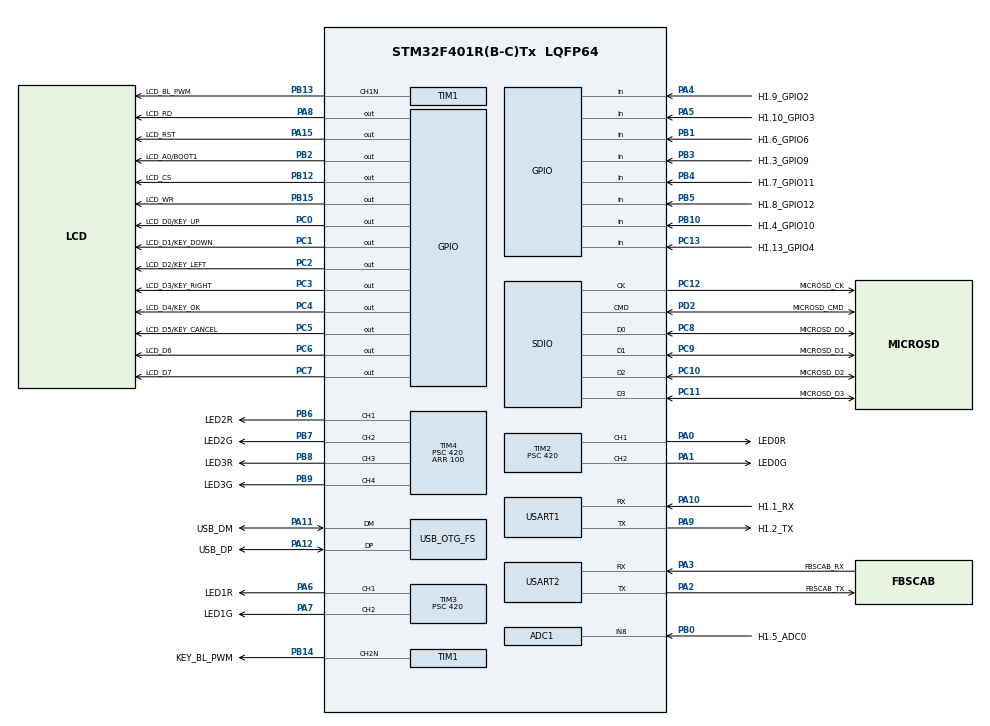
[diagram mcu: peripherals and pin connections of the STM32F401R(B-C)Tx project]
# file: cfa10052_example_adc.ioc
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ADC1.Channel-0\#ChannelRegularConversion=ADC_CHANNEL_8
ADC1.ClockPrescaler=ADC_CLOCK_SYNC_PCLK_DIV8
ADC1.ContinuousConvMode=ENABLE
ADC1.DMAContinuousRequests=DISABLE
ADC1.NbrOfConversionFlag=1
ADC1.Rank-0\#ChannelRegularConversion=1
ADC1.SamplingTime-0\#ChannelRegularConversion=ADC_SAMPLETIME_3CYCLES
ADC1.ScanConvMode=DISABLE
ADC1.master=1
Mcu.Family=STM32F4
Mcu.Name=STM32F401R(B-C)Tx
Mcu.Package=LQFP64
NVIC.ADC_IRQn=true\:0\:0\:false\:false\:true\:true\:true
NVIC.OTG_FS_IRQn=true\:0\:0\:false\:false\:true\:false\:true
NVIC.PriorityGroup=NVIC_PRIORITYGROUP_4
NVIC.USART1_IRQn=true\:0\:0\:false\:false\:true\:true\:true
PA0-WKUP.GPIO_Label=LED0R
PA0-WKUP.GPIO_Speed=GPIO_SPEED_FREQ_VERY_HIGH
PA0-WKUP.Signal=S_TIM2_CH1_ETR
PA1.GPIO_Label=LED0G
PA1.GPIO_Speed=GPIO_SPEED_FREQ_VERY_HIGH
PA1.Signal=S_TIM2_CH2
PA10.GPIO_Label=H1.1_RX
PA10.Mode=Asynchronous
PA10.Signal=USART1_RX
PA11.GPIO_Label=USB_DM
PA11.Mode=Device_Only
PA11.Signal=USB_OTG_FS_DM
PA12.GPIO_Label=USB_DP
PA12.Mode=Device_Only
PA12.Signal=USB_OTG_FS_DP
PA13.GPIO_Label=H1.11_SWDIO_GPIO0
PA13.Mode=Serial_Wire
PA13.Signal=SYS_JTMS-SWDIO
PA14.GPIO_Label=H1.12_SWCLK_GPIO1
PA14.Mode=Serial_Wire
PA14.Signal=SYS_JTCK-SWCLK
PA15.GPIO_Label=LCD_RST
PA15.GPIO_Speed=GPIO_SPEED_FREQ_VERY_HIGH
PA15.Signal=GPIO_Output
PA2.GPIO_Label=FBSCAB_TX
PA2.Mode=Asynchronous
PA2.Signal=USART2_TX
PA3.GPIO_Label=FBSCAB_RX
PA3.Mode=Asynchronous
PA3.Signal=USART2_RX
PA4.GPIO_Label=H1.9_GPIO2
PA4.Signal=GPIO_Input
PA5.GPIO_Label=H1.10_GPIO3
PA5.Signal=GPIO_Input
PA6.GPIO_Label=LED1R
PA6.GPIO_Speed=GPIO_SPEED_FREQ_VERY_HIGH
PA6.Signal=S_TIM3_CH1
PA7.GPIO_Label=LED1G
PA7.GPIO_Speed=GPIO_SPEED_FREQ_VERY_HIGH
PA7.Signal=S_TIM3_CH2
PA8.GPIO_Label=LCD_RD
PA8.GPIO_Speed=GPIO_SPEED_FREQ_VERY_HIGH
PA8.Signal=GPIO_Output
PA9.GPIO_Label=H1.2_TX
PA9.Mode=Asynchronous
PA9.Signal=USART1_TX
PB0.GPIO_Label=H1.5_ADC0
PB0.Signal=ADCx_IN8
PB1.GPIO_Label=H1.6_GPIO6
PB1.Signal=GPIO_Input
PB10.GPIO_Label=H1.4_GPIO10
PB10.Signal=GPIO_Input
PB12.GPIO_Label=LCD_CS
PB12.GPIO_Speed=GPIO_SPEED_FREQ_VERY_HIGH
PB12.Signal=GPIO_Output
PB13.GPIO_Label=LCD_BL_PWM
PB13.GPIO_Speed=GPIO_SPEED_FREQ_VERY_HIGH
PB13.Mode=PWM Generation1 CH1N
PB13.Signal=TIM1_CH1N
PB14.GPIO_Label=KEY_BL_PWM
PB14.GPIO_Speed=GPIO_SPEED_FREQ_VERY_HIGH
PB14.Mode=PWM Generation2 CH2N
PB14.Signal=TIM1_CH2N
PB15.GPIO_Label=LCD_WR
PB15.GPIO_Speed=GPIO_SPEED_FREQ_VERY_HIGH
PB15.Signal=GPIO_Output
PB2.GPIO_Label=LCD_A0/BOOT1
PB2.GPIO_Speed=GPIO_SPEED_FREQ_VERY_HIGH
PB2.Signal=GPIO_Output
PB3.GPIO_Label=H1.3_GPIO9
PB3.Signal=GPIO_Input
PB4.GPIO_Label=H1.7_GPIO11
PB4.Signal=GPIO_Input
PB5.GPIO_Label=H1.8_GPIO12
PB5.Signal=GPIO_Input
PB6.GPIO_Label=LED2R
PB6.GPIO_Speed=GPIO_SPEED_FREQ_VERY_HIGH
PB6.Signal=S_TIM4_CH1
PB7.GPIO_Label=LED2G
PB7.GPIO_Speed=GPIO_SPEED_FREQ_VERY_HIGH
PB7.Signal=S_TIM4_CH2
PB8.GPIO_Label=LED3R
PB8.GPIO_Speed=GPIO_SPEED_FREQ_VERY_HIGH
PB8.Signal=S_TIM4_CH3
PB9.GPIO_Label=LED3G
PB9.GPIO_Speed=GPIO_SPEED_FREQ_VERY_HIGH
PB9.Signal=S_TIM4_CH4
PC0.GPIO_Label=LCD_D0/KEY_UP
PC0.GPIO_Speed=GPIO_SPEED_FREQ_VERY_HIGH
PC0.Signal=GPIO_Output
PC1.GPIO_Label=LCD_D1/KEY_DOWN
PC1.GPIO_Speed=GPIO_SPEED_FREQ_VERY_HIGH
PC1.Signal=GPIO_Output
PC10.GPIO_Label=MICROSD_D2
PC10.Mode=SD_4_bits_Wide_bus
PC10.Signal=SDIO_D2
PC11.GPIO_Label=MICROSD_D3
PC11.Mode=SD_4_bits_Wide_bus
PC11.Signal=SDIO_D3
PC12.GPIO_Label=MICROSD_CK
PC12.Mode=SD_4_bits_Wide_bus
PC12.Signal=SDIO_CK
PC13-ANTI_TAMP.GPIO_Label=H1.13_GPIO4
PC13-ANTI_TAMP.Signal=GPIO_Input
PC2.GPIO_Label=LCD_D2/KEY_LEFT
PC2.GPIO_Speed=GPIO_SPEED_FREQ_VERY_HIGH
PC2.Signal=GPIO_Output
PC3.GPIO_Label=LCD_D3/KEY_RIGHT
PC3.GPIO_Speed=GPIO_SPEED_FREQ_VERY_HIGH
PC3.Signal=GPIO_Output
PC4.GPIO_Label=LCD_D4/KEY_OK
PC4.GPIO_Speed=GPIO_SPEED_FREQ_VERY_HIGH
PC4.Signal=GPIO_Output
PC5.GPIO_Label=LCD_D5/KEY_CANCEL
PC5.GPIO_Speed=GPIO_SPEED_FREQ_VERY_HIGH
PC5.Signal=GPIO_Output
PC6.GPIO_Label=LCD_D6
PC6.GPIO_Speed=GPIO_SPEED_FREQ_VERY_HIGH
PC6.Signal=GPIO_Output
PC7.GPIO_Label=LCD_D7
PC7.GPIO_Speed=GPIO_SPEED_FREQ_VERY_HIGH
PC7.Signal=GPIO_Output
PC8.GPIO_Label=MICROSD_D0
PC8.Mode=SD_4_bits_Wide_bus
PC8.Signal=SDIO_D0
PC9.GPIO_Label=MICROSD_D1
PC9.Mode=SD_4_bits_Wide_bus
PC9.Signal=SDIO_D1
PD2.GPIO_Label=MICROSD_CMD
PD2.Mode=SD_4_bits_Wide_bus
PD2.Signal=SDIO_CMD
PH0\ -\ OSC_IN.GPIO_Label=OSC_IN
PH0\ -\ OSC_IN.Mode=HSE-External-Oscillator
PH0\ -\ OSC_IN.Signal=RCC_OSC_IN
PH1\ -\ OSC_OUT.GPIO_Label=OSC_OUT
PH1\ -\ OSC_OUT.Mode=HSE-External-Oscillator
PH1\ -\ OSC_OUT.Signal=RCC_OSC_OUT
ProjectManager.HeapSize=0x200
ProjectManager.StackSize=0x400
ProjectManager.TargetToolchain=STM32CubeIDE
RCC.48MHZClocksFreq_Value=48000000
RCC.AHBFreq_Value=84000000
RCC.APB1CLKDivider=RCC_HCLK_DIV2
RCC.APB1Freq_Value=42000000
RCC.APB1TimFreq_Value=84000000
RCC.APB2Freq_Value=84000000
RCC.APB2TimFreq_Value=84000000
RCC.CortexFreq_Value=84000000
RCC.HCLKFreq_Value=84000000
RCC.HSE_VALUE=16000000
RCC.HSI_VALUE=16000000
RCC.LSE_VALUE=32768
RCC.PLLM=8
RCC.PLLN=168
RCC.PLLP=RCC_PLLP_DIV4
RCC.PLLQ=7
RCC.SYSCLKFreq_VALUE=84000000
RCC.SYSCLKSource=RCC_SYSCLKSOURCE_PLLCLK
RCC.VCOOutputFreq_Value=336000000
SH.ADCx_IN8.0=ADC1_IN8,IN8
SH.S_TIM2_CH1_ETR.0=TIM2_CH1,PWM Generation1 CH1
SH.S_TIM2_CH2.0=TIM2_CH2,PWM Generation2 CH2
SH.S_TIM3_CH1.0=TIM3_CH1,PWM Generation1 CH1
SH.S_TIM3_CH2.0=TIM3_CH2,PWM Generation2 CH2
SH.S_TIM4_CH1.0=TIM4_CH1,PWM Generation1 CH1
SH.S_TIM4_CH2.0=TIM4_CH2,PWM Generation2 CH2
SH.S_TIM4_CH3.0=TIM4_CH3,PWM Generation3 CH3
SH.S_TIM4_CH4.0=TIM4_CH4,PWM Generation4 CH4
TIM1.Channel-PWM\ Generation1\ CH1N=TIM_CHANNEL_1
TIM1.Channel-PWM\ Generation2\ CH2N=TIM_CHANNEL_2
TIM1.CounterMode=TIM_COUNTERMODE_DOWN
TIM1.Period=100
TIM1.Prescaler=9
TIM2.Channel-PWM\ Generation1\ CH1=TIM_CHANNEL_1
TIM2.Channel-PWM\ Generation2\ CH2=TIM_CHANNEL_2
TIM2.Period=100
TIM2.Prescaler=420
TIM3.Channel-PWM\ Generation1\ CH1=TIM_CHANNEL_1
TIM3.Channel-PWM\ Generation2\ CH2=TIM_CHANNEL_2
TIM3.Period=100
TIM3.Prescaler=420
TIM4.Channel-PWM\ Generation1\ CH1=TIM_CHANNEL_1
TIM4.Channel-PWM\ Generation2\ CH2=TIM_CHANNEL_2
TIM4.Channel-PWM\ Generation3\ CH3=TIM_CHANNEL_3
TIM4.Channel-PWM\ Generation4\ CH4=TIM_CHANNEL_4
TIM4.Period=100
TIM4.Prescaler=420
USART1.VirtualMode=VM_ASYNC
USART2.VirtualMode=VM_ASYNC
USB_DEVICE.CLASS_NAME_FS=CDC
USB_DEVICE.VirtualMode=Cdc
USB_DEVICE.VirtualModeFS=Cdc_FS
USB_OTG_FS.VirtualMode=Device_Only
USB_OTG_FS.lpm_enable=ENABLE
VP_TIM1_VS_ClockSourceINT.Mode=Internal
VP_TIM2_VS_ClockSourceINT.Mode=Internal
VP_TIM3_VS_ClockSourceINT.Mode=Internal
VP_TIM4_VS_ClockSourceINT.Mode=Internal
VP_USB_DEVICE_VS_USB_DEVICE_CDC_FS.Mode=CDC_FS
board=custom

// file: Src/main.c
/* USER CODE BEGIN Header */
/**
 ******************************************************************************
 * @file           : main.c
 * @brief          : Main program body
 ******************************************************************************
 *
 * Crystalfontz CFA10052 (hardware v1.1 onwards) Example firmware.
 *
 * This example displays a 0 to ~22khz spectrogram on the LCD, as sampled by
 * the first of the two ADC input pins.
 * See the README for example AC signal input circuitry.
 *
 * The ADC input is Header 1 - Pin 5.
 * Due to the resistive divider on the CFA10052 ADC input pin, maximum input
 * voltage is 6.6V.
 *
 * The ADC is sampled at 43,750Hz.
 *
 * The Tick key toggles between manual and auto amplitude range
 * Up/Down keys change the amplitude when in manual amplitude mode
 * Left/Right keys move the frequency measurement cursor
  *
 * For more information about this CFA10052 example custom firmware package,
 * please see the README.md file.
 *
 ******************************************************************************
 *
 * Crystalfontz supplied source-code is provided using The Unlicense.
 * A license with no conditions whatsoever which dedicates works to the public
 * domain. Unlicensed works, modifications, and larger works may be distributed
 * under different terms and without source code.
 * See the UNLICENCE file, or https://unlicense.org/ for details.
 *
 * STM32Cube created source-code and STMicroelectronics libraries are Copyright(c)
 * 2019 STMicroelectronics. All rights reserved.
 * This software component is licensed by ST under BSD 3-Clause license,
 * the "License"; You may not use this file except in compliance with the
 * License.
 * You may obtain a copy of the License at: opensource.org/licenses/BSD-3-Clause
 *
 ******************************************************************************
 */
/* USER CODE END Header */

#include "main.h"
#include "usb_device.h"

/* USER CODE BEGIN Includes */
#include "usbd_cdc_if.h"

#include "keypad.h"
#include "leds.h"
#include "font_6x8x1.h"
#include "lcd_st7529.h"
#include "tprintf.h"
/* USER CODE END Includes */

/* USER CODE BEGIN PM */
#define ADC_SAMP_FREQ	(84000000/4/480)
#define ADC_NYQUIST		(ADC_SAMP_FREQ/2)

#define FFT_N			(1024)
#define FFT_2N			(FFT_N*2)
#define FFT_N2			(FFT_N/2)

#define KEY_REPEAT_TIMER	(100) /*mS*/
/* USER CODE END PM */

ADC_HandleTypeDef hadc1;

SD_HandleTypeDef hsd;

/* USER CODE BEGIN PV */

volatile uint32_t ADCSamples[FFT_N];
volatile uint32_t ADCSampleCount = 0;

/* USER CODE END PV */

void SystemClock_Config(void);
static void MX_GPIO_Init(void);
static void MX_TIM1_Init(void);
static void MX_TIM2_Init(void);
static void MX_TIM3_Init(void);
static void MX_TIM4_Init(void);
static void MX_USART1_UART_Init(void);
static void MX_USART2_UART_Init(void);
static void MX_SDIO_SD_Init(void);
static void MX_ADC1_Init(void);

/* USER CODE BEGIN 0 */

void User_USART1_IRQHandler(void)
{
	//incoming data on USART1 (CFA10052 H1, pins 1 & 2)
	//called by USART1_IRQHandler() in stm32f4xx_it.c
	//dont do anything other than clear the flag
	LL_USART_ClearFlag_RXNE(USART1);
}

void USB_IncomingData(uint8_t *Buf, uint32_t *Len)
{
	//incoming data from USB serial (ACM CDC)
	//called from CDC_Receive_FS() in usbd_cdc_if.c
	//dont do anything
}

void HAL_ADC_ConvCpltCallback(ADC_HandleTypeDef *hadc)
{
	//ADC conversion complete callback (from ADC_IRQHandler() in stm32f4xx_it.c)
	//Runs at PCLK2/4/480 = 84000000/4/480 = 43750 Hz
	if (ADCSampleCount < FFT_N-1)
	{
		ADCSamples[ADCSampleCount] = HAL_ADC_GetValue(&hadc1);
		ADCSampleCount++;
	}
}

//speedy log10 approximation
const float32_t C[4] = { 1.23149591368684f, -4.11852516267426f, 6.02197014179219f, -3.13396450166353f };
const float32_t LOG10_2 = log10(2.0f);
float32_t log10_approx(float32_t x)
{
	//reference: https://community.arm.com/tools/f/discussions/4292/cmsis-dsp-new-functionality-proposal
	float32_t f, l;
	int e;
	f = frexpf(fabsf(x), &e);
	l = LOG10_2 * (C[0] * f * f * f + C[1] * f * f + C[2] * f + C[3] + e);
	return l;
}

/* USER CODE END 0 */

int main(void)
{

  /* MCU Configuration--------------------------------------------------------*/

  /* Reset of all peripherals, Initializes the Flash interface and the Systick. */
  HAL_Init();

  /* Configure the system clock */
  SystemClock_Config();

  /* USER CODE BEGIN SysInit */
	//For some reason HAL doesnt always get this right
	//after SystemClock_Config(). Do it again.
	HAL_InitTick(TICK_INT_PRIORITY);
  /* USER CODE END SysInit */

  /* Initialize all configured peripherals */
  MX_GPIO_Init();
  MX_TIM1_Init();
  MX_TIM2_Init();
  MX_TIM3_Init();
  MX_TIM4_Init();
  MX_USART1_UART_Init();
  MX_USB_DEVICE_Init();
  MX_USART2_UART_Init();
  MX_SDIO_SD_Init();
  MX_ADC1_Init();
  /* USER CODE BEGIN 2 */

	//CFA10052 specific init's
	LEDs_Init();
	Keypad_Init();
	ST7529_Init();
	LEDs_LCDBacklightSet(50);
	LEDs_KeypadBacklightSet(50);

	//Start the ADC
	ADCSampleCount = 0;
	HAL_NVIC_EnableIRQ(ADC_IRQn);
	HAL_ADC_Start(&hadc1);
	HAL_ADC_Start_IT(&hadc1);

  /* USER CODE END 2 */

  /* Infinite loop */
  /* USER CODE BEGIN WHILE */

	//local vars
	uint32_t	i, j;
	char		TempS[40];
	float32_t	max;
	uint32_t	index;
	uint8_t		Mode;
	float32_t	AmplAuto, AmplManual, AmplMult;
	float32_t	FFT0;
	uint32_t	FreqPeak;
	uint32_t	XCursorPos;
	float32_t	LCDData[LCD_WIDTH];
	float32_t	FFTData[FFT_2N];
	uint32_t	KeyTimer;

	//init FFT vars
	arm_cfft_radix4_instance_f32 FFTInst;
	arm_cfft_radix4_init_f32(&FFTInst, FFT_N, 0, 1);

	//init local vars
	Mode = 0; //auto/manual ampl
	AmplManual = 0.5;
	AmplAuto = 0.5;
	XCursorPos = LCD_WIDTH/2;

	//pre-calc window function (hanning)
	float32_t FFTWindow[FFT_N];
	for (i = 0; i < FFT_N; i++)
		FFTWindow[i] = (0.5 * (1 - arm_cos_f32(2 * PI * i / (FFT_N - 1))));

	//main loop
	TIMER_SET_NEXT(KeyTimer, KEY_REPEAT_TIMER);
	while (1)
	{
		//keypad check
		Keypad_CheckButtons();

		//handle button presses / holds
		if (Keypad_ButtonState[KEY_UP] & BUTTON_RELEASED)
			//up key pressed, increase manual amplitude value
			AmplManual += (AmplManual > 5.0) ? 0 : 0.05;
		if (Keypad_ButtonState[KEY_DOWN] & BUTTON_RELEASED)
			//down key pressed, decrease manual amplitude value
			AmplManual -= (AmplManual < 0.1) ? 0 : 0.05;
		if (Keypad_ButtonState[KEY_ENTER] & BUTTON_RELEASED)
			//tick key pressed, toggle auto/manual amplitude
			Mode = !Mode;
		if (Keypad_ButtonState[KEY_RIGHT] & BUTTON_RELEASED)
			//right key pressed, move cursor right
			XCursorPos += (XCursorPos >= LCD_WIDTH-1) ? 0 : 1;
		if (Keypad_ButtonState[KEY_LEFT] & BUTTON_RELEASED)
			//left key pressed, move cursor left
			XCursorPos -= (XCursorPos < 1) ? 0 : 1;

		//key hold repeat timer
		IF_TIMER_EXPIRED(KeyTimer)
		{
			//reset timer
			TIMER_SET_NEXT(KeyTimer, KEY_REPEAT_TIMER)

			//handle key holds
			if (Keypad_ButtonState[KEY_UP] & BUTTON_HELD)
				//up key pressed, increase manual amplitude value
				AmplManual += (AmplManual > 10.0) ? 0 : 0.05f;
			if (Keypad_ButtonState[KEY_DOWN] & BUTTON_HELD)
				//down key pressed, decrease manual amplitude value
				AmplManual -= (AmplManual < 0.1f) ? 0 : 0.05f;
			if (Keypad_ButtonState[KEY_RIGHT] & BUTTON_HELD)
				//right key pressed, move cursor right
				XCursorPos += (XCursorPos >= LCD_WIDTH-1) ? 0 : 1;
			if (Keypad_ButtonState[KEY_LEFT] & BUTTON_HELD)
				//left key pressed, move cursor left
				XCursorPos -= (XCursorPos < 1) ? 0 : 1;
		}

		//wait for the adc sample buffer to be filled
		//todo: change ADC conversion process to use DMA
		while(ADCSampleCount < FFT_N-1) __NOP();

		//apply the window to the adc data, and convert for fft
		for (i = 0; i < FFT_N; i++)
		{
			//apply window, keep real part
			FFTData[i*2] = (((float32_t)ADCSamples[i] - 2048.0) / 2048.0) * FFTWindow[i];
			//imaginary part
			FFTData[(i*2)+1] = 0;
		}
		//restart the ADC by zeroing the counter
		ADCSampleCount = 0;

		//process the data through the CFFT/CIFFT module
		arm_cfft_radix4_f32(&FFTInst, FFTData);
		//calc magnitude at each bin
		//input and output data use same buffer to save ram
		arm_cmplx_mag_f32(FFTData, FFTData, FFT_N);

		//keep max value, zero out index 0,1 (false values)
		FFT0 = FFTData[0];
		FFTData[0] = 0;
		FFTData[1] = 0;

		//find freq peak position for displaying as text later
		arm_max_f32(FFTData, FFT_N2, &max, &index);
		FreqPeak = (index * ADC_NYQUIST) / FFT_N2;

		//resize FFTData FFT_N2 length array down to LCD_WIDTH length for display
		//todo: this could be better, use max of values, not average
		for (i = 0; i < LCD_WIDTH; i++)
		{
			float32_t fIndex = (i * FFT_N2) / (float32_t)LCD_WIDTH;
		    uint32_t uIndex = floor(fIndex);
		    float32_t diffIndex = fIndex - uIndex;
		    LCDData[i] = ((1.0 - diffIndex) * FFTData[uIndex]) + (diffIndex * FFTData[uIndex + 1]);
		}

		//scale data by max value of FFT0 & convert output to dB
		for (i = 0; i < LCD_WIDTH; i++)
			LCDData[i] = 20.0 * log10_approx((LCDData[i] / FFT0) + 1.0);

		//find max value in output
		arm_max_f32(LCDData, LCD_WIDTH, &max, &index);
		//auto display amplitude control
		if (max > AmplAuto)
			//new max value is higher than current amplitude, change to match
			AmplAuto = max;
		else
			//new max is lower than current amplitude, slowly lower
			AmplAuto *= 0.995;

		//clear the lcd frame buffer
		memset(LCD_FrameBuffer, 0x00, LCD_WIDTH * LCD_HEIGHT);

		//draw the graph
		AmplMult = (!Mode) ? AmplAuto : AmplManual;
		for (i = 0; i < LCD_WIDTH; i++)
		{
			//convert float data into Y pixel position using max amplitude value/setting
			uint32_t YPos = round((LCDData[i] * LCD_HEIGHT) / AmplMult);
			//check range
			if (YPos > LCD_HEIGHT-1)
				YPos = LCD_HEIGHT-1;
			//invert
			YPos = (LCD_HEIGHT-1) - YPos;
			//draw a bar vertical bar
			for (j = YPos; j < LCD_HEIGHT; j++)
				LCD_FrameBuffer[i + (j * LCD_WIDTH)] = 0xFF;
		}

		//draw x cursor (dotted vertical line)
		for (i = 0; i < LCD_HEIGHT; i++)
			LCD_FrameBuffer[XCursorPos + (i*LCD_WIDTH)] = (i % 2 ? 0xff : 0x00);

		//freq peak text
		tsprintf(TempS, "PEAK:%u Hz", FreqPeak);
		Font_WriteString(LCD_FrameBuffer, 160, 5, TempS);
		//cursor frequency
		uint32_t FreqCursor = (XCursorPos * ADC_NYQUIST) / LCD_WIDTH;
		tsprintf(TempS, "CFRQ:%u Hz", FreqCursor);
		Font_WriteString(LCD_FrameBuffer, 160, 15, TempS);
		//max amplitude text
		if (Mode)
			tsprintf(TempS, "AMPL:M %f", AmplMult);
		else
			tsprintf(TempS, "AMPL:A %f", AmplMult);
		Font_WriteString(LCD_FrameBuffer, 160, 25, TempS);

		//send framebuffer to the LCD controller
		ST7529_BufferToLCD(LCD_FrameBuffer);
		}

    /* USER CODE END WHILE */

}

void SystemClock_Config(void)
{
  LL_FLASH_SetLatency(LL_FLASH_LATENCY_2);

   if(LL_FLASH_GetLatency() != LL_FLASH_LATENCY_2)
  {
  Error_Handler();
  }
  LL_PWR_SetRegulVoltageScaling(LL_PWR_REGU_VOLTAGE_SCALE2);
  LL_RCC_HSE_Enable();

   /* Wait till HSE is ready */
  while(LL_RCC_HSE_IsReady() != 1)
  {

  }
  LL_RCC_PLL_ConfigDomain_SYS(LL_RCC_PLLSOURCE_HSE, LL_RCC_PLLM_DIV_8, 168, LL_RCC_PLLP_DIV_4);
  LL_RCC_PLL_ConfigDomain_48M(LL_RCC_PLLSOURCE_HSE, LL_RCC_PLLM_DIV_8, 168, LL_RCC_PLLQ_DIV_7);
  LL_RCC_PLL_Enable();

   /* Wait till PLL is ready */
  while(LL_RCC_PLL_IsReady() != 1)
  {

  }
  LL_RCC_SetAHBPrescaler(LL_RCC_SYSCLK_DIV_1);
  LL_RCC_SetAPB1Prescaler(LL_RCC_APB1_DIV_2);
  LL_RCC_SetAPB2Prescaler(LL_RCC_APB2_DIV_1);
  LL_RCC_SetSysClkSource(LL_RCC_SYS_CLKSOURCE_PLL);

   /* Wait till System clock is ready */
  while(LL_RCC_GetSysClkSource() != LL_RCC_SYS_CLKSOURCE_STATUS_PLL)
  {

  }
  LL_SetSystemCoreClock(84000000);
  LL_RCC_SetTIMPrescaler(LL_RCC_TIM_PRESCALER_TWICE);
}

static void MX_ADC1_Init(void)
{

  ADC_ChannelConfTypeDef sConfig = {0};

  /** Configure the global features of the ADC (Clock, Resolution, Data Alignment and number of conversion)
  */
  hadc1.Instance = ADC1;
  hadc1.Init.ClockPrescaler = ADC_CLOCK_SYNC_PCLK_DIV4;
  hadc1.Init.Resolution = ADC_RESOLUTION_12B;
  hadc1.Init.ScanConvMode = DISABLE;
  hadc1.Init.ContinuousConvMode = ENABLE;
  hadc1.Init.DiscontinuousConvMode = DISABLE;
  hadc1.Init.ExternalTrigConvEdge = ADC_EXTERNALTRIGCONVEDGE_NONE;
  hadc1.Init.ExternalTrigConv = ADC_SOFTWARE_START;
  hadc1.Init.DataAlign = ADC_DATAALIGN_RIGHT;
  hadc1.Init.NbrOfConversion = 1;
  hadc1.Init.DMAContinuousRequests = DISABLE;
  hadc1.Init.EOCSelection = ADC_EOC_SINGLE_CONV;
  if (HAL_ADC_Init(&hadc1) != HAL_OK)
  {
    Error_Handler();
  }
  /** Configure for the selected ADC regular channel its corresponding rank in the sequencer and its sample time.
  */
  sConfig.Channel = ADC_CHANNEL_8;
  sConfig.Rank = 1;
  sConfig.SamplingTime = ADC_SAMPLETIME_3CYCLES;
  if (HAL_ADC_ConfigChannel(&hadc1, &sConfig) != HAL_OK)
  {
    Error_Handler();
  }
  /* USER CODE BEGIN ADC1_Init 2 */
	sConfig.Channel = ADC_CHANNEL_8;
	sConfig.Rank = 1;
	sConfig.SamplingTime = ADC_SAMPLETIME_480CYCLES;
	HAL_ADC_ConfigChannel(&hadc1, &sConfig);
  /* USER CODE END ADC1_Init 2 */

}

static void MX_SDIO_SD_Init(void)
{

  hsd.Instance = SDIO;
  hsd.Init.ClockEdge = SDIO_CLOCK_EDGE_RISING;
  hsd.Init.ClockBypass = SDIO_CLOCK_BYPASS_DISABLE;
  hsd.Init.ClockPowerSave = SDIO_CLOCK_POWER_SAVE_DISABLE;
  hsd.Init.BusWide = SDIO_BUS_WIDE_1B;
  hsd.Init.HardwareFlowControl = SDIO_HARDWARE_FLOW_CONTROL_DISABLE;
  hsd.Init.ClockDiv = 0;
  if (HAL_SD_Init(&hsd) != HAL_OK)
  {
    Error_Handler();
  }
  if (HAL_SD_ConfigWideBusOperation(&hsd, SDIO_BUS_WIDE_4B) != HAL_OK)
  {
    Error_Handler();
  }

}

static void MX_TIM1_Init(void)
{

  LL_TIM_InitTypeDef TIM_InitStruct = {0};
  LL_TIM_OC_InitTypeDef TIM_OC_InitStruct = {0};
  LL_TIM_BDTR_InitTypeDef TIM_BDTRInitStruct = {0};

  LL_GPIO_InitTypeDef GPIO_InitStruct = {0};

  /* Peripheral clock enable */
  LL_APB2_GRP1_EnableClock(LL_APB2_GRP1_PERIPH_TIM1);

  TIM_InitStruct.Prescaler = 9;
  TIM_InitStruct.CounterMode = LL_TIM_COUNTERMODE_DOWN;
  TIM_InitStruct.Autoreload = 100;
  TIM_InitStruct.ClockDivision = LL_TIM_CLOCKDIVISION_DIV1;
  TIM_InitStruct.RepetitionCounter = 0;
  LL_TIM_Init(TIM1, &TIM_InitStruct);
  LL_TIM_DisableARRPreload(TIM1);
  LL_TIM_SetClockSource(TIM1, LL_TIM_CLOCKSOURCE_INTERNAL);
  LL_TIM_OC_EnablePreload(TIM1, LL_TIM_CHANNEL_CH1);
  TIM_OC_InitStruct.OCMode = LL_TIM_OCMODE_PWM1;
  TIM_OC_InitStruct.OCState = LL_TIM_OCSTATE_DISABLE;
  TIM_OC_InitStruct.OCNState = LL_TIM_OCSTATE_DISABLE;
  TIM_OC_InitStruct.CompareValue = 0;
  TIM_OC_InitStruct.OCPolarity = LL_TIM_OCPOLARITY_HIGH;
  TIM_OC_InitStruct.OCNPolarity = LL_TIM_OCPOLARITY_HIGH;
  TIM_OC_InitStruct.OCIdleState = LL_TIM_OCIDLESTATE_LOW;
  TIM_OC_InitStruct.OCNIdleState = LL_TIM_OCIDLESTATE_LOW;
  LL_TIM_OC_Init(TIM1, LL_TIM_CHANNEL_CH1, &TIM_OC_InitStruct);
  LL_TIM_OC_DisableFast(TIM1, LL_TIM_CHANNEL_CH1);
  LL_TIM_OC_EnablePreload(TIM1, LL_TIM_CHANNEL_CH2);
  TIM_OC_InitStruct.OCState = LL_TIM_OCSTATE_DISABLE;
  TIM_OC_InitStruct.OCNState = LL_TIM_OCSTATE_DISABLE;
  LL_TIM_OC_Init(TIM1, LL_TIM_CHANNEL_CH2, &TIM_OC_InitStruct);
  LL_TIM_OC_DisableFast(TIM1, LL_TIM_CHANNEL_CH2);
  LL_TIM_SetTriggerOutput(TIM1, LL_TIM_TRGO_RESET);
  LL_TIM_DisableMasterSlaveMode(TIM1);
  TIM_BDTRInitStruct.OSSRState = LL_TIM_OSSR_DISABLE;
  TIM_BDTRInitStruct.OSSIState = LL_TIM_OSSI_DISABLE;
  TIM_BDTRInitStruct.LockLevel = LL_TIM_LOCKLEVEL_OFF;
  TIM_BDTRInitStruct.DeadTime = 0;
  TIM_BDTRInitStruct.BreakState = LL_TIM_BREAK_DISABLE;
  TIM_BDTRInitStruct.BreakPolarity = LL_TIM_BREAK_POLARITY_HIGH;
  TIM_BDTRInitStruct.AutomaticOutput = LL_TIM_AUTOMATICOUTPUT_DISABLE;
  LL_TIM_BDTR_Init(TIM1, &TIM_BDTRInitStruct);
  LL_AHB1_GRP1_EnableClock(LL_AHB1_GRP1_PERIPH_GPIOB);
  /**TIM1 GPIO Configuration
  PB13   ------> TIM1_CH1N
  PB14   ------> TIM1_CH2N
  */
  GPIO_InitStruct.Pin = LCD_BL_PWM_Pin|KEY_BL_PWM_Pin;
  GPIO_InitStruct.Mode = LL_GPIO_MODE_ALTERNATE;
  GPIO_InitStruct.Speed = LL_GPIO_SPEED_FREQ_VERY_HIGH;
  GPIO_InitStruct.OutputType = LL_GPIO_OUTPUT_PUSHPULL;
  GPIO_InitStruct.Pull = LL_GPIO_PULL_NO;
  GPIO_InitStruct.Alternate = LL_GPIO_AF_1;
  LL_GPIO_Init(GPIOB, &GPIO_InitStruct);

}

static void MX_TIM2_Init(void)
{

  LL_TIM_InitTypeDef TIM_InitStruct = {0};
  LL_TIM_OC_InitTypeDef TIM_OC_InitStruct = {0};

  LL_GPIO_InitTypeDef GPIO_InitStruct = {0};

  /* Peripheral clock enable */
  LL_APB1_GRP1_EnableClock(LL_APB1_GRP1_PERIPH_TIM2);

  TIM_InitStruct.Prescaler = 420;
  TIM_InitStruct.CounterMode = LL_TIM_COUNTERMODE_UP;
  TIM_InitStruct.Autoreload = 100;
  TIM_InitStruct.ClockDivision = LL_TIM_CLOCKDIVISION_DIV1;
  LL_TIM_Init(TIM2, &TIM_InitStruct);
  LL_TIM_DisableARRPreload(TIM2);
  LL_TIM_SetClockSource(TIM2, LL_TIM_CLOCKSOURCE_INTERNAL);
  LL_TIM_OC_EnablePreload(TIM2, LL_TIM_CHANNEL_CH1);
  TIM_OC_InitStruct.OCMode = LL_TIM_OCMODE_PWM1;
  TIM_OC_InitStruct.OCState = LL_TIM_OCSTATE_DISABLE;
  TIM_OC_InitStruct.OCNState = LL_TIM_OCSTATE_DISABLE;
  TIM_OC_InitStruct.CompareValue = 0;
  TIM_OC_InitStruct.OCPolarity = LL_TIM_OCPOLARITY_HIGH;
  LL_TIM_OC_Init(TIM2, LL_TIM_CHANNEL_CH1, &TIM_OC_InitStruct);
  LL_TIM_OC_DisableFast(TIM2, LL_TIM_CHANNEL_CH1);
  LL_TIM_OC_EnablePreload(TIM2, LL_TIM_CHANNEL_CH2);
  TIM_OC_InitStruct.OCState = LL_TIM_OCSTATE_DISABLE;
  TIM_OC_InitStruct.OCNState = LL_TIM_OCSTATE_DISABLE;
  LL_TIM_OC_Init(TIM2, LL_TIM_CHANNEL_CH2, &TIM_OC_InitStruct);
  LL_TIM_OC_DisableFast(TIM2, LL_TIM_CHANNEL_CH2);
  LL_TIM_SetTriggerOutput(TIM2, LL_TIM_TRGO_RESET);
  LL_TIM_DisableMasterSlaveMode(TIM2);
  LL_AHB1_GRP1_EnableClock(LL_AHB1_GRP1_PERIPH_GPIOA);
  /**TIM2 GPIO Configuration
  PA0-WKUP   ------> TIM2_CH1
  PA1   ------> TIM2_CH2
  */
  GPIO_InitStruct.Pin = LED0R_Pin|LED0G_Pin;
  GPIO_InitStruct.Mode = LL_GPIO_MODE_ALTERNATE;
  GPIO_InitStruct.Speed = LL_GPIO_SPEED_FREQ_VERY_HIGH;
  GPIO_InitStruct.OutputType = LL_GPIO_OUTPUT_PUSHPULL;
  GPIO_InitStruct.Pull = LL_GPIO_PULL_NO;
  GPIO_InitStruct.Alternate = LL_GPIO_AF_1;
  LL_GPIO_Init(GPIOA, &GPIO_InitStruct);

}

static void MX_TIM3_Init(void)
{

  LL_TIM_InitTypeDef TIM_InitStruct = {0};
  LL_TIM_OC_InitTypeDef TIM_OC_InitStruct = {0};

  LL_GPIO_InitTypeDef GPIO_InitStruct = {0};

  /* Peripheral clock enable */
  LL_APB1_GRP1_EnableClock(LL_APB1_GRP1_PERIPH_TIM3);

  TIM_InitStruct.Prescaler = 420;
  TIM_InitStruct.CounterMode = LL_TIM_COUNTERMODE_UP;
  TIM_InitStruct.Autoreload = 100;
  TIM_InitStruct.ClockDivision = LL_TIM_CLOCKDIVISION_DIV1;
  LL_TIM_Init(TIM3, &TIM_InitStruct);
  LL_TIM_DisableARRPreload(TIM3);
  LL_TIM_SetClockSource(TIM3, LL_TIM_CLOCKSOURCE_INTERNAL);
  LL_TIM_OC_EnablePreload(TIM3, LL_TIM_CHANNEL_CH1);
  TIM_OC_InitStruct.OCMode = LL_TIM_OCMODE_PWM1;
  TIM_OC_InitStruct.OCState = LL_TIM_OCSTATE_DISABLE;
  TIM_OC_InitStruct.OCNState = LL_TIM_OCSTATE_DISABLE;
  TIM_OC_InitStruct.CompareValue = 0;
  TIM_OC_InitStruct.OCPolarity = LL_TIM_OCPOLARITY_HIGH;
  LL_TIM_OC_Init(TIM3, LL_TIM_CHANNEL_CH1, &TIM_OC_InitStruct);
  LL_TIM_OC_DisableFast(TIM3, LL_TIM_CHANNEL_CH1);
  LL_TIM_OC_EnablePreload(TIM3, LL_TIM_CHANNEL_CH2);
  TIM_OC_InitStruct.OCState = LL_TIM_OCSTATE_DISABLE;
  TIM_OC_InitStruct.OCNState = LL_TIM_OCSTATE_DISABLE;
  LL_TIM_OC_Init(TIM3, LL_TIM_CHANNEL_CH2, &TIM_OC_InitStruct);
  LL_TIM_OC_DisableFast(TIM3, LL_TIM_CHANNEL_CH2);
  LL_TIM_SetTriggerOutput(TIM3, LL_TIM_TRGO_RESET);
  LL_TIM_DisableMasterSlaveMode(TIM3);
  LL_AHB1_GRP1_EnableClock(LL_AHB1_GRP1_PERIPH_GPIOA);
  /**TIM3 GPIO Configuration
  PA6   ------> TIM3_CH1
  PA7   ------> TIM3_CH2
  */
  GPIO_InitStruct.Pin = LED1R_Pin|LED1G_Pin;
  GPIO_InitStruct.Mode = LL_GPIO_MODE_ALTERNATE;
  GPIO_InitStruct.Speed = LL_GPIO_SPEED_FREQ_VERY_HIGH;
  GPIO_InitStruct.OutputType = LL_GPIO_OUTPUT_PUSHPULL;
  GPIO_InitStruct.Pull = LL_GPIO_PULL_NO;
  GPIO_InitStruct.Alternate = LL_GPIO_AF_2;
  LL_GPIO_Init(GPIOA, &GPIO_InitStruct);

}

static void MX_TIM4_Init(void)
{

  LL_TIM_InitTypeDef TIM_InitStruct = {0};
  LL_TIM_OC_InitTypeDef TIM_OC_InitStruct = {0};

  LL_GPIO_InitTypeDef GPIO_InitStruct = {0};

  /* Peripheral clock enable */
  LL_APB1_GRP1_EnableClock(LL_APB1_GRP1_PERIPH_TIM4);

  TIM_InitStruct.Prescaler = 420;
  TIM_InitStruct.CounterMode = LL_TIM_COUNTERMODE_UP;
  TIM_InitStruct.Autoreload = 100;
  TIM_InitStruct.ClockDivision = LL_TIM_CLOCKDIVISION_DIV1;
  LL_TIM_Init(TIM4, &TIM_InitStruct);
  LL_TIM_DisableARRPreload(TIM4);
  LL_TIM_SetClockSource(TIM4, LL_TIM_CLOCKSOURCE_INTERNAL);
  LL_TIM_OC_EnablePreload(TIM4, LL_TIM_CHANNEL_CH1);
  TIM_OC_InitStruct.OCMode = LL_TIM_OCMODE_PWM1;
  TIM_OC_InitStruct.OCState = LL_TIM_OCSTATE_DISABLE;
  TIM_OC_InitStruct.OCNState = LL_TIM_OCSTATE_DISABLE;
  TIM_OC_InitStruct.CompareValue = 0;
  TIM_OC_InitStruct.OCPolarity = LL_TIM_OCPOLARITY_HIGH;
  LL_TIM_OC_Init(TIM4, LL_TIM_CHANNEL_CH1, &TIM_OC_InitStruct);
  LL_TIM_OC_DisableFast(TIM4, LL_TIM_CHANNEL_CH1);
  LL_TIM_OC_EnablePreload(TIM4, LL_TIM_CHANNEL_CH2);
  TIM_OC_InitStruct.OCState = LL_TIM_OCSTATE_DISABLE;
  TIM_OC_InitStruct.OCNState = LL_TIM_OCSTATE_DISABLE;
  LL_TIM_OC_Init(TIM4, LL_TIM_CHANNEL_CH2, &TIM_OC_InitStruct);
  LL_TIM_OC_DisableFast(TIM4, LL_TIM_CHANNEL_CH2);
  LL_TIM_OC_EnablePreload(TIM4, LL_TIM_CHANNEL_CH3);
  TIM_OC_InitStruct.OCState = LL_TIM_OCSTATE_DISABLE;
  TIM_OC_InitStruct.OCNState = LL_TIM_OCSTATE_DISABLE;
  LL_TIM_OC_Init(TIM4, LL_TIM_CHANNEL_CH3, &TIM_OC_InitStruct);
  LL_TIM_OC_DisableFast(TIM4, LL_TIM_CHANNEL_CH3);
  LL_TIM_OC_EnablePreload(TIM4, LL_TIM_CHANNEL_CH4);
  TIM_OC_InitStruct.OCState = LL_TIM_OCSTATE_DISABLE;
  TIM_OC_InitStruct.OCNState = LL_TIM_OCSTATE_DISABLE;
  LL_TIM_OC_Init(TIM4, LL_TIM_CHANNEL_CH4, &TIM_OC_InitStruct);
  LL_TIM_OC_DisableFast(TIM4, LL_TIM_CHANNEL_CH4);
  LL_TIM_SetTriggerOutput(TIM4, LL_TIM_TRGO_RESET);
  LL_TIM_DisableMasterSlaveMode(TIM4);
  LL_AHB1_GRP1_EnableClock(LL_AHB1_GRP1_PERIPH_GPIOB);
  /**TIM4 GPIO Configuration
  PB6   ------> TIM4_CH1
  PB7   ------> TIM4_CH2
  PB8   ------> TIM4_CH3
  PB9   ------> TIM4_CH4
  */
  GPIO_InitStruct.Pin = LED2R_Pin|LED2G_Pin|LED3R_Pin|LED3G_Pin;
  GPIO_InitStruct.Mode = LL_GPIO_MODE_ALTERNATE;
  GPIO_InitStruct.Speed = LL_GPIO_SPEED_FREQ_VERY_HIGH;
  GPIO_InitStruct.OutputType = LL_GPIO_OUTPUT_PUSHPULL;
  GPIO_InitStruct.Pull = LL_GPIO_PULL_NO;
  GPIO_InitStruct.Alternate = LL_GPIO_AF_2;
  LL_GPIO_Init(GPIOB, &GPIO_InitStruct);

}

static void MX_USART1_UART_Init(void)
{

  LL_USART_InitTypeDef USART_InitStruct = {0};

  LL_GPIO_InitTypeDef GPIO_InitStruct = {0};

  /* Peripheral clock enable */
  LL_APB2_GRP1_EnableClock(LL_APB2_GRP1_PERIPH_USART1);

  LL_AHB1_GRP1_EnableClock(LL_AHB1_GRP1_PERIPH_GPIOA);
  /**USART1 GPIO Configuration
  PA9   ------> USART1_TX
  PA10   ------> USART1_RX
  */
  GPIO_InitStruct.Pin = H1_2_TX_Pin|H1_1_RX_Pin;
  GPIO_InitStruct.Mode = LL_GPIO_MODE_ALTERNATE;
  GPIO_InitStruct.Speed = LL_GPIO_SPEED_FREQ_VERY_HIGH;
  GPIO_InitStruct.OutputType = LL_GPIO_OUTPUT_PUSHPULL;
  GPIO_InitStruct.Pull = LL_GPIO_PULL_UP;
  GPIO_InitStruct.Alternate = LL_GPIO_AF_7;
  LL_GPIO_Init(GPIOA, &GPIO_InitStruct);

  /* USART1 interrupt Init */
  NVIC_SetPriority(USART1_IRQn, NVIC_EncodePriority(NVIC_GetPriorityGrouping(),0, 0));
  NVIC_EnableIRQ(USART1_IRQn);

  USART_InitStruct.BaudRate = 115200;
  USART_InitStruct.DataWidth = LL_USART_DATAWIDTH_8B;
  USART_InitStruct.StopBits = LL_USART_STOPBITS_1;
  USART_InitStruct.Parity = LL_USART_PARITY_NONE;
  USART_InitStruct.TransferDirection = LL_USART_DIRECTION_TX_RX;
  USART_InitStruct.HardwareFlowControl = LL_USART_HWCONTROL_NONE;
  USART_InitStruct.OverSampling = LL_USART_OVERSAMPLING_16;
  LL_USART_Init(USART1, &USART_InitStruct);
  LL_USART_ConfigAsyncMode(USART1);
  LL_USART_Enable(USART1);

}

static void MX_USART2_UART_Init(void)
{

  LL_USART_InitTypeDef USART_InitStruct = {0};

  LL_GPIO_InitTypeDef GPIO_InitStruct = {0};

  /* Peripheral clock enable */
  LL_APB1_GRP1_EnableClock(LL_APB1_GRP1_PERIPH_USART2);

  LL_AHB1_GRP1_EnableClock(LL_AHB1_GRP1_PERIPH_GPIOA);
  /**USART2 GPIO Configuration
  PA2   ------> USART2_TX
  PA3   ------> USART2_RX
  */
  GPIO_InitStruct.Pin = FBSCAB_TX_Pin|FBSCAB_RX_Pin;
  GPIO_InitStruct.Mode = LL_GPIO_MODE_ALTERNATE;
  GPIO_InitStruct.Speed = LL_GPIO_SPEED_FREQ_VERY_HIGH;
  GPIO_InitStruct.OutputType = LL_GPIO_OUTPUT_PUSHPULL;
  GPIO_InitStruct.Pull = LL_GPIO_PULL_UP;
  GPIO_InitStruct.Alternate = LL_GPIO_AF_7;
  LL_GPIO_Init(GPIOA, &GPIO_InitStruct);

  USART_InitStruct.BaudRate = 115200;
  USART_InitStruct.DataWidth = LL_USART_DATAWIDTH_8B;
  USART_InitStruct.StopBits = LL_USART_STOPBITS_1;
  USART_InitStruct.Parity = LL_USART_PARITY_NONE;
  USART_InitStruct.TransferDirection = LL_USART_DIRECTION_TX_RX;
  USART_InitStruct.HardwareFlowControl = LL_USART_HWCONTROL_NONE;
  USART_InitStruct.OverSampling = LL_USART_OVERSAMPLING_16;
  LL_USART_Init(USART2, &USART_InitStruct);
  LL_USART_ConfigAsyncMode(USART2);
  LL_USART_Enable(USART2);

}

static void MX_GPIO_Init(void)
{
  LL_GPIO_InitTypeDef GPIO_InitStruct = {0};

  /* GPIO Ports Clock Enable */
  LL_AHB1_GRP1_EnableClock(LL_AHB1_GRP1_PERIPH_GPIOC);
  LL_AHB1_GRP1_EnableClock(LL_AHB1_GRP1_PERIPH_GPIOH);
  LL_AHB1_GRP1_EnableClock(LL_AHB1_GRP1_PERIPH_GPIOA);
  LL_AHB1_GRP1_EnableClock(LL_AHB1_GRP1_PERIPH_GPIOB);
  LL_AHB1_GRP1_EnableClock(LL_AHB1_GRP1_PERIPH_GPIOD);

  /**/
  LL_GPIO_ResetOutputPin(GPIOC, LCD_D0_KEY_UP_Pin|LCD_D1_KEY_DOWN_Pin|LCD_D2_KEY_LEFT_Pin|LCD_D3_KEY_RIGHT_Pin
                          |LCD_D4_KEY_OK_Pin|LCD_D5_KEY_CANCEL_Pin|LCD_D6_Pin|LCD_D7_Pin);

  /**/
  LL_GPIO_ResetOutputPin(GPIOB, LCD_A0_BOOT1_Pin|LCD_CS_Pin|LCD_WR_Pin);

  /**/
  LL_GPIO_ResetOutputPin(GPIOA, LCD_RD_Pin|LCD_RST_Pin);

  /**/
  GPIO_InitStruct.Pin = H1_13_GPIO4_Pin;
  GPIO_InitStruct.Mode = LL_GPIO_MODE_INPUT;
  GPIO_InitStruct.Pull = LL_GPIO_PULL_NO;
  LL_GPIO_Init(H1_13_GPIO4_GPIO_Port, &GPIO_InitStruct);

  /**/
  GPIO_InitStruct.Pin = LL_GPIO_PIN_14|LL_GPIO_PIN_15;
  GPIO_InitStruct.Mode = LL_GPIO_MODE_ANALOG;
  GPIO_InitStruct.Pull = LL_GPIO_PULL_NO;
  LL_GPIO_Init(GPIOC, &GPIO_InitStruct);

  /**/
  GPIO_InitStruct.Pin = LCD_D0_KEY_UP_Pin|LCD_D1_KEY_DOWN_Pin|LCD_D2_KEY_LEFT_Pin|LCD_D3_KEY_RIGHT_Pin
                          |LCD_D4_KEY_OK_Pin|LCD_D5_KEY_CANCEL_Pin|LCD_D6_Pin|LCD_D7_Pin;
  GPIO_InitStruct.Mode = LL_GPIO_MODE_OUTPUT;
  GPIO_InitStruct.Speed = LL_GPIO_SPEED_FREQ_VERY_HIGH;
  GPIO_InitStruct.OutputType = LL_GPIO_OUTPUT_PUSHPULL;
  GPIO_InitStruct.Pull = LL_GPIO_PULL_NO;
  LL_GPIO_Init(GPIOC, &GPIO_InitStruct);

  /**/
  GPIO_InitStruct.Pin = H1_9_GPIO2_Pin|H1_10_GPIO3_Pin;
  GPIO_InitStruct.Mode = LL_GPIO_MODE_INPUT;
  GPIO_InitStruct.Pull = LL_GPIO_PULL_NO;
  LL_GPIO_Init(GPIOA, &GPIO_InitStruct);

  /**/
  GPIO_InitStruct.Pin = H1_6_GPIO6_Pin|H1_4_GPIO10_Pin|H1_3_GPIO9_Pin|H1_7_GPIO11_Pin
                          |H1_8_GPIO12_Pin;
  GPIO_InitStruct.Mode = LL_GPIO_MODE_INPUT;
  GPIO_InitStruct.Pull = LL_GPIO_PULL_NO;
  LL_GPIO_Init(GPIOB, &GPIO_InitStruct);

  /**/
  GPIO_InitStruct.Pin = LCD_A0_BOOT1_Pin|LCD_CS_Pin|LCD_WR_Pin;
  GPIO_InitStruct.Mode = LL_GPIO_MODE_OUTPUT;
  GPIO_InitStruct.Speed = LL_GPIO_SPEED_FREQ_VERY_HIGH;
  GPIO_InitStruct.OutputType = LL_GPIO_OUTPUT_PUSHPULL;
  GPIO_InitStruct.Pull = LL_GPIO_PULL_NO;
  LL_GPIO_Init(GPIOB, &GPIO_InitStruct);

  /**/
  GPIO_InitStruct.Pin = LCD_RD_Pin|LCD_RST_Pin;
  GPIO_InitStruct.Mode = LL_GPIO_MODE_OUTPUT;
  GPIO_InitStruct.Speed = LL_GPIO_SPEED_FREQ_VERY_HIGH;
  GPIO_InitStruct.OutputType = LL_GPIO_OUTPUT_PUSHPULL;
  GPIO_InitStruct.Pull = LL_GPIO_PULL_NO;
  LL_GPIO_Init(GPIOA, &GPIO_InitStruct);

}

void Error_Handler(void)
{
}

/************************ (C) COPYRIGHT STMicroelectronics *****END OF FILE****/
